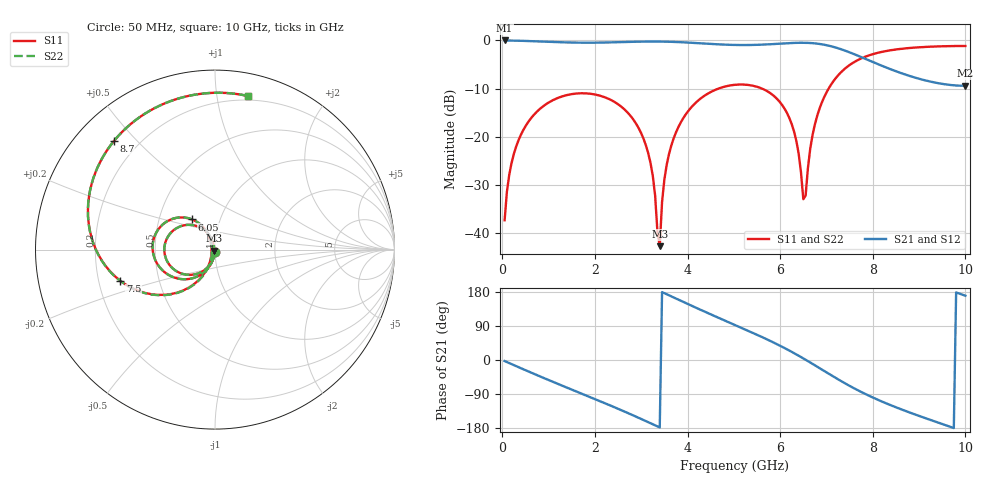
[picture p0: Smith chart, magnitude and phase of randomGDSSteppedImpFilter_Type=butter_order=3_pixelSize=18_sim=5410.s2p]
! freq	dB(S11)	phase(S11)	dB(S12)	phase(S12)
!  dB(S21)	phase(S21)	dB(S22)	phase(S22)
!S-par simulation data
#  GHz  S  DB  R 50
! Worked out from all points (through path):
!   200 points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, 50 MHz to 10 GHz, reference 50 ohm
!   highest |S21| = 0.00 dB at 50 MHz (marker M1); lowest = -9.4 dB at 10 GHz (marker M2)
!   group delay of S21, straight-line fit = 159 ps
!   lowest |S11| = -42.8 dB at 3.4 GHz (marker M3), VSWR 1.01, Z = 49.5 - j0.517 ohm
!   |S11| at or under -10 dB: start of sweep to 4.671 GHz; 5.605 GHz to 7.047 GHz (1.442 GHz wide, 22.8 % of centre)
!   |S22| runs from -42.9 to -1.2 dB; largest |S21 - S12| = 0
!   S11 on the Smith chart (normalised r, x): 50 MHz: 1.00, -0.03; 6.05 GHz: 0.74, +0.26; 7.5 GHz: 0.29, -0.15; 8.7 GHz: 0.11, +0.43; 10 GHz: 0.17, +1.22
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0.05  -37.38 -92.8  -0.00 -2.7  -0.00 -2.7  -37.38 -92.8
0.2  -25.48 -101.1  -0.03 -10.8  -0.03 -10.8  -25.48 -101.1
0.5  -17.85 -117.2  -0.10 -26.8  -0.10 -26.8  -17.85 -117.2
1.15  -12.16 -151.0  -0.34 -60.5  -0.34 -60.5  -12.16 -151.0
1.75  -10.98 179.0  -0.47 -90.5  -0.47 -90.5  -10.98 179.0
2.95  -18.34 118.1  -0.26 -152.9  -0.26 -152.9  -18.34 118.0
3.25  -28.17 105.4  -0.23 -169.5  -0.23 -169.5  -28.18 105.2
3.4  -42.77 -134.1  -0.23 -178.0  -0.23 -178.0  -42.87 -133.4
3.5  -28.91 -100.6  -0.25 176.3  -0.25 176.3  -28.91 -100.4
3.8  -18.06 -112.9  -0.34 159.3  -0.34 159.3  -18.06 -112.9
4.45  -10.99 -147.6  -0.70 123.2  -0.70 123.2  -10.99 -147.6
5.05  -9.20 -179.0  -0.94 91.1  -0.94 91.1  -9.20 -179.1
6.05  -13.52 127.3  -0.64 34.4  -0.64 34.4  -13.53 126.9
6.35  -20.90 114.4  -0.50 14.7  -0.50 14.7  -20.94 113.3
6.5  -33.00 151.3  -0.49 4.3  -0.49 4.3  -33.68 148.6
6.55  -32.25 -143.1  -0.49 0.7  -0.49 0.7  -32.83 -140.0
6.7  -19.65 -111.9  -0.57 -10.2  -0.57 -10.2  -19.68 -110.7
7  -10.82 -127.8  -0.99 -32.6  -0.99 -32.6  -10.83 -127.3
7.5  -5.11 -161.7  -2.48 -68.3  -2.48 -68.3  -5.11 -161.5
8.35  -2.10 149.7  -5.86 -117.4  -5.86 -117.4  -2.10 149.8
8.7  -1.66 133.0  -7.08 -134.1  -7.08 -134.1  -1.66 133.1
10  -1.16 77.9  -9.42 169.6  -9.42 169.6  -1.16 77.9
